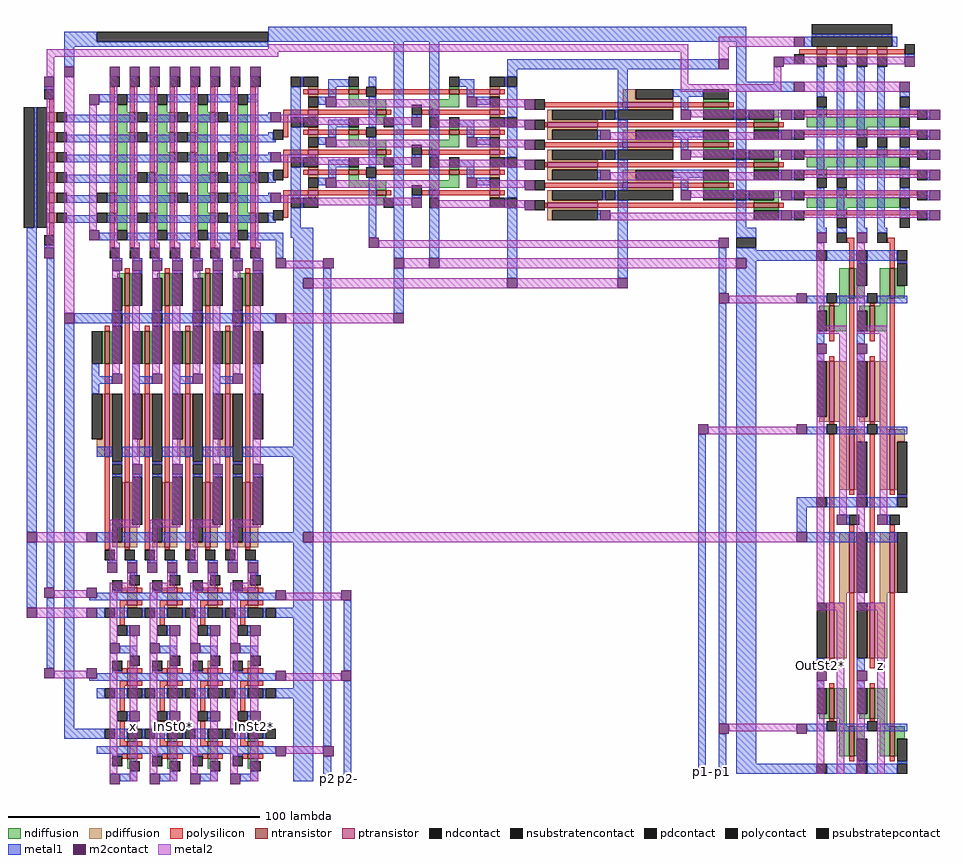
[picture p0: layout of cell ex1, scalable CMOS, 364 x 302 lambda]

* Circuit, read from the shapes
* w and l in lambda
.subckt ex1 GND! InSt0* InSt1* InSt2* OutSt0* OutSt1* OutSt2* Vdd! p1 p1- p2 p2- x z
M1 GND! n1 n2 GND! nfet w=13 l=2
M2 p2 n2 n3 GND! nfet w=4 l=2
M3 p2 n2 n4 GND! nfet w=4 l=2
M4 n1 n5 GND! GND! nfet w=13 l=2
M5 n6 p2 n5 GND! nfet w=4 l=2
M6 GND! x n6 GND! nfet w=4 l=2
M7 n7 n1 p2 GND! nfet w=4 l=2
M8 n8 n1 p2 GND! nfet w=4 l=2
M9 GND! n9 n10 GND! nfet w=13 l=2
M10 p2 n10 n3 GND! nfet w=4 l=2
M11 p2 n10 n11 GND! nfet w=4 l=2
M12 n9 n12 GND! GND! nfet w=13 l=2
M13 n13 p2 n12 GND! nfet w=4 l=2
M14 GND! InSt0* n13 GND! nfet w=4 l=2
M15 n4 n9 p2 GND! nfet w=4 l=2
M16 n14 n9 p2 GND! nfet w=4 l=2
M17 n7 n9 p2 GND! nfet w=4 l=2
M18 n8 n9 p2 GND! nfet w=4 l=2
M19 GND! n15 n16 GND! nfet w=13 l=2
M20 p2 n16 n14 GND! nfet w=4 l=2
M21 p2 n16 n7 GND! nfet w=4 l=2
M22 n15 n17 GND! GND! nfet w=13 l=2
M23 n18 p2 n17 GND! nfet w=4 l=2
M24 GND! InSt1* n18 GND! nfet w=4 l=2
M25 n3 n15 p2 GND! nfet w=4 l=2
M26 n4 n15 p2 GND! nfet w=4 l=2
M27 n11 n15 p2 GND! nfet w=4 l=2
M28 n8 n15 p2 GND! nfet w=4 l=2
M29 GND! n19 n20 GND! nfet w=13 l=2
M30 p2 n20 n4 GND! nfet w=4 l=2
M31 p2 n20 n14 GND! nfet w=4 l=2
M32 n19 n21 GND! GND! nfet w=13 l=2
M33 n22 p2 n21 GND! nfet w=4 l=2
M34 GND! InSt2* n22 GND! nfet w=4 l=2
M35 n3 n19 p2 GND! nfet w=4 l=2
M36 n11 n19 p2 GND! nfet w=4 l=2
M37 n23 p1 n24 GND! nfet w=4 l=2
M38 n25 p1 n26 GND! nfet w=4 l=2
M39 n27 p1 n28 GND! nfet w=4 l=2
M40 n24 n3 GND! GND! nfet w=4 l=2
M41 n26 n11 GND! GND! nfet w=4 l=2
M42 n28 n7 GND! GND! nfet w=4 l=2
M43 n29 n4 GND! GND! nfet w=4 l=2
M44 n30 n14 GND! GND! nfet w=4 l=2
M45 n31 n8 GND! GND! nfet w=4 l=2
M46 n32 p1 n29 GND! nfet w=4 l=2
M47 n33 p1 n30 GND! nfet w=4 l=2
M48 n34 p1 n31 GND! nfet w=4 l=2
M49 n35 n32 GND! GND! nfet w=10 l=2
M50 n36 n33 GND! GND! nfet w=10 l=2
M51 n37 n34 GND! GND! nfet w=10 l=2
M52 GND! n23 n38 GND! nfet w=10 l=2
M53 GND! n25 n39 GND! nfet w=10 l=2
M54 GND! n27 n40 GND! nfet w=10 l=2
M55 GND! n39 n41 GND! nfet w=4 l=2
M56 n41 n37 GND! GND! nfet w=4 l=2
M57 n42 p1 OutSt2* GND! nfet w=12 l=2
M58 n43 p1 OutSt1* GND! nfet w=10 l=2
M59 GND! n38 n44 GND! nfet w=4 l=2
M60 n44 n35 GND! GND! nfet w=4 l=2
M61 GND! n41 n42 GND! nfet w=12 l=2
M62 GND! n44 n43 GND! nfet w=12 l=2
M63 GND! n40 n45 GND! nfet w=4 l=2
M64 n46 p1 OutSt0* GND! nfet w=12 l=2
M65 n47 p1 z GND! nfet w=10 l=2
M66 n48 n36 GND! GND! nfet w=4 l=2
M67 GND! n45 n46 GND! nfet w=12 l=2
M68 GND! n48 n47 GND! nfet w=12 l=2
M69 n3 p2- Vdd! Vdd! pfet w=4 l=2
M70 n4 p2- Vdd! Vdd! pfet w=4 l=2
M71 n11 p2- Vdd! Vdd! pfet w=4 l=2
M72 n14 p2- Vdd! Vdd! pfet w=4 l=2
M73 n7 p2- Vdd! Vdd! pfet w=4 l=2
M74 n8 p2- Vdd! Vdd! pfet w=4 l=2
M75 Vdd! n1 n2 Vdd! pfet w=25 l=2
M76 n1 n5 Vdd! Vdd! pfet w=26 l=2
M77 n49 x Vdd! Vdd! pfet w=4 l=2
M78 n5 p2- n49 Vdd! pfet w=4 l=2
M79 n50 x Vdd! Vdd! pfet w=4 l=2
M80 n5 p2- n50 Vdd! pfet w=4 l=2
M81 Vdd! n9 n10 Vdd! pfet w=25 l=2
M82 n9 n12 Vdd! Vdd! pfet w=26 l=2
M83 n51 InSt0* Vdd! Vdd! pfet w=4 l=2
M84 n12 p2- n51 Vdd! pfet w=4 l=2
M85 n52 InSt0* Vdd! Vdd! pfet w=4 l=2
M86 n12 p2- n52 Vdd! pfet w=4 l=2
M87 Vdd! n15 n16 Vdd! pfet w=25 l=2
M88 n15 n17 Vdd! Vdd! pfet w=26 l=2
M89 n53 InSt1* Vdd! Vdd! pfet w=4 l=2
M90 n17 p2- n53 Vdd! pfet w=4 l=2
M91 n54 InSt1* Vdd! Vdd! pfet w=4 l=2
M92 n17 p2- n54 Vdd! pfet w=4 l=2
M93 Vdd! n19 n20 Vdd! pfet w=25 l=2
M94 n19 n21 Vdd! Vdd! pfet w=26 l=2
M95 n55 InSt2* Vdd! Vdd! pfet w=4 l=2
M96 n21 p2- n55 Vdd! pfet w=4 l=2
M97 n56 InSt2* Vdd! Vdd! pfet w=4 l=2
M98 n21 p2- n56 Vdd! pfet w=4 l=2
M99 n23 n3 Vdd! Vdd! pfet w=4 l=2
M100 Vdd! p1 n23 Vdd! pfet w=4 l=2
M101 n25 n11 Vdd! Vdd! pfet w=4 l=2
M102 Vdd! p1 n25 Vdd! pfet w=4 l=2
M103 n27 n7 Vdd! Vdd! pfet w=4 l=2
M104 Vdd! p1 n27 Vdd! pfet w=4 l=2
M105 n32 n4 Vdd! Vdd! pfet w=4 l=2
M106 Vdd! p1 n32 Vdd! pfet w=4 l=2
M107 n33 n14 Vdd! Vdd! pfet w=4 l=2
M108 Vdd! p1 n33 Vdd! pfet w=4 l=2
M109 n34 n8 Vdd! Vdd! pfet w=4 l=2
M110 Vdd! p1 n34 Vdd! pfet w=4 l=2
M111 Vdd! n23 n38 Vdd! pfet w=20 l=2
M112 Vdd! n25 n39 Vdd! pfet w=20 l=2
M113 Vdd! n27 n40 Vdd! pfet w=20 l=2
M114 n35 n32 Vdd! Vdd! pfet w=20 l=2
M115 n36 n33 Vdd! Vdd! pfet w=20 l=2
M116 n37 n34 Vdd! Vdd! pfet w=20 l=2
M117 Vdd! p2- n41 Vdd! pfet w=4 l=2
M118 n57 p1- OutSt2* Vdd! pfet w=22 l=2
M119 n58 p1- OutSt1* Vdd! pfet w=24 l=2
M120 Vdd! p2- n44 Vdd! pfet w=4 l=2
M121 Vdd! n41 n57 Vdd! pfet w=24 l=2
M122 Vdd! n44 n58 Vdd! pfet w=24 l=2
M123 Vdd! p2- n45 Vdd! pfet w=4 l=2
M124 n59 p1- OutSt0* Vdd! pfet w=22 l=2
M125 n60 p1- z Vdd! pfet w=24 l=2
M126 Vdd! p2- n48 Vdd! pfet w=4 l=2
M127 Vdd! n45 n59 Vdd! pfet w=24 l=2
M128 Vdd! n48 n60 Vdd! pfet w=24 l=2
.ends

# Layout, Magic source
magic
tech scmos
<< polysilicon >>
rect 308 21 315 23
rect 319 21 323 23
rect 327 21 331 23
rect 335 21 339 23
rect 343 21 350 23
rect 10 -2 12 3
rect 10 -10 12 -6
rect 10 -18 12 -14
rect 10 -26 12 -22
rect 10 -34 12 -30
rect 34 -34 36 8
rect 42 -2 44 8
rect 42 -10 44 -6
rect 10 -42 12 -38
rect 34 -42 36 -38
rect 10 -51 12 -46
rect 34 -56 36 -46
rect 42 -56 44 -14
rect 50 -26 52 8
rect 58 -2 60 8
rect 58 -10 60 -6
rect 66 -10 68 8
rect 74 -2 76 8
rect 58 -18 60 -14
rect 66 -18 68 -14
rect 50 -42 52 -30
rect 58 -34 60 -22
rect 50 -56 52 -46
rect 58 -56 60 -38
rect 66 -56 68 -22
rect 74 -26 76 -6
rect 82 -18 84 8
rect 74 -34 76 -30
rect 82 -34 84 -22
rect 90 -26 92 8
rect 111 5 113 7
rect 117 5 129 7
rect 133 5 136 7
rect 140 5 169 7
rect 173 5 185 7
rect 189 5 191 7
rect 103 -3 113 -1
rect 117 -3 140 -1
rect 144 -3 146 -1
rect 207 0 238 2
rect 258 0 270 2
rect 280 0 282 2
rect 158 -3 161 -1
rect 165 -3 185 -1
rect 189 -3 191 -1
rect 103 -12 105 -3
rect 111 -11 113 -9
rect 117 -11 129 -9
rect 133 -11 136 -9
rect 310 -3 315 -1
rect 319 -3 355 -1
rect 207 -8 208 -6
rect 228 -8 290 -6
rect 300 -8 302 -6
rect 140 -11 169 -9
rect 173 -11 185 -9
rect 189 -11 191 -9
rect 103 -19 113 -17
rect 117 -19 140 -17
rect 144 -19 146 -17
rect 310 -11 331 -9
rect 335 -11 355 -9
rect 207 -16 238 -14
rect 258 -16 270 -14
rect 280 -16 282 -14
rect 158 -19 161 -17
rect 165 -19 185 -17
rect 189 -19 191 -17
rect 103 -28 105 -19
rect 111 -27 113 -25
rect 117 -27 129 -25
rect 133 -27 136 -25
rect 74 -42 76 -38
rect 74 -56 76 -46
rect 82 -56 84 -38
rect 90 -42 92 -30
rect 310 -19 339 -17
rect 343 -19 355 -17
rect 207 -24 208 -22
rect 228 -24 290 -22
rect 300 -24 302 -22
rect 140 -27 169 -25
rect 173 -27 185 -25
rect 189 -27 191 -25
rect 103 -35 113 -33
rect 117 -35 140 -33
rect 144 -35 146 -33
rect 310 -27 315 -25
rect 319 -27 355 -25
rect 207 -32 238 -30
rect 258 -32 270 -30
rect 280 -32 282 -30
rect 158 -35 161 -33
rect 165 -35 185 -33
rect 189 -35 191 -33
rect 103 -44 105 -35
rect 310 -35 323 -33
rect 327 -35 355 -33
rect 207 -40 208 -38
rect 228 -40 290 -38
rect 300 -40 302 -38
rect 310 -43 323 -41
rect 327 -43 355 -41
rect 90 -56 92 -46
rect 327 -54 330 -52
rect 343 -54 346 -52
rect 328 -64 330 -54
rect 40 -66 42 -64
rect 56 -66 58 -64
rect 72 -66 74 -64
rect 88 -66 90 -64
rect 32 -89 34 -87
rect 32 -114 34 -102
rect 32 -176 34 -139
rect 40 -149 42 -79
rect 48 -89 50 -87
rect 48 -114 50 -102
rect 40 -176 42 -175
rect 48 -176 50 -139
rect 56 -149 58 -79
rect 64 -89 66 -87
rect 64 -114 66 -102
rect 56 -176 58 -175
rect 64 -176 66 -139
rect 72 -149 74 -79
rect 344 -64 346 -54
rect 320 -79 322 -78
rect 80 -89 82 -87
rect 80 -114 82 -102
rect 72 -176 74 -175
rect 80 -176 82 -139
rect 88 -149 90 -79
rect 320 -93 322 -89
rect 320 -101 322 -99
rect 320 -126 322 -125
rect 328 -128 330 -76
rect 336 -79 338 -78
rect 336 -93 338 -89
rect 336 -101 338 -99
rect 336 -126 338 -125
rect 88 -176 90 -175
rect 39 -192 41 -191
rect 36 -193 41 -192
rect 45 -193 47 -191
rect 55 -192 57 -191
rect 52 -193 57 -192
rect 61 -193 63 -191
rect 71 -192 73 -191
rect 68 -193 73 -192
rect 77 -193 79 -191
rect 87 -192 89 -191
rect 84 -193 89 -192
rect 93 -193 95 -191
rect 38 -198 41 -196
rect 45 -198 47 -196
rect 54 -198 57 -196
rect 61 -198 63 -196
rect 70 -198 73 -196
rect 77 -198 79 -196
rect 86 -198 89 -196
rect 93 -198 95 -196
rect 320 -197 322 -130
rect 344 -128 346 -76
rect 328 -154 330 -152
rect 328 -169 330 -166
rect 38 -206 40 -198
rect 54 -206 56 -198
rect 70 -206 72 -198
rect 86 -206 88 -198
rect 39 -224 41 -223
rect 36 -225 41 -224
rect 45 -225 47 -223
rect 55 -224 57 -223
rect 52 -225 57 -224
rect 61 -225 63 -223
rect 71 -224 73 -223
rect 68 -225 73 -224
rect 77 -225 79 -223
rect 320 -223 322 -219
rect 87 -224 89 -223
rect 84 -225 89 -224
rect 93 -225 95 -223
rect 38 -230 41 -228
rect 45 -230 47 -228
rect 54 -230 57 -228
rect 61 -230 63 -228
rect 70 -230 73 -228
rect 77 -230 79 -228
rect 86 -230 89 -228
rect 93 -230 95 -228
rect 38 -240 40 -230
rect 54 -240 56 -230
rect 70 -240 72 -230
rect 86 -240 88 -230
rect 320 -231 322 -229
rect 320 -244 322 -243
rect 38 -252 40 -244
rect 54 -252 56 -244
rect 70 -252 72 -244
rect 86 -252 88 -244
rect 328 -246 330 -193
rect 336 -197 338 -130
rect 344 -154 346 -152
rect 344 -169 346 -166
rect 336 -223 338 -219
rect 336 -231 338 -229
rect 336 -244 338 -243
rect 38 -254 41 -252
rect 45 -254 47 -252
rect 54 -254 57 -252
rect 61 -254 63 -252
rect 70 -254 73 -252
rect 77 -254 79 -252
rect 86 -254 89 -252
rect 93 -254 95 -252
rect 37 -258 41 -257
rect 39 -259 41 -258
rect 45 -259 47 -257
rect 53 -258 57 -257
rect 55 -259 57 -258
rect 61 -259 63 -257
rect 69 -258 73 -257
rect 71 -259 73 -258
rect 77 -259 79 -257
rect 85 -258 89 -257
rect 87 -259 89 -258
rect 93 -259 95 -257
rect 344 -246 346 -193
rect 328 -260 330 -258
rect 344 -260 346 -258
<< ndiffusion >>
rect 37 -2 41 1
rect 37 -6 42 -2
rect 44 -6 45 -2
rect 37 -10 41 -6
rect 37 -14 42 -10
rect 44 -14 45 -10
rect 37 -34 41 -14
rect 33 -38 34 -34
rect 36 -38 41 -34
rect 37 -42 41 -38
rect 33 -46 34 -42
rect 36 -46 41 -42
rect 37 -49 41 -46
rect 53 -2 57 1
rect 53 -6 58 -2
rect 60 -6 61 -2
rect 53 -10 57 -6
rect 69 -2 73 1
rect 69 -6 74 -2
rect 76 -6 77 -2
rect 69 -10 73 -6
rect 53 -14 58 -10
rect 60 -14 61 -10
rect 65 -14 66 -10
rect 68 -14 73 -10
rect 53 -18 57 -14
rect 69 -18 73 -14
rect 53 -22 58 -18
rect 60 -22 61 -18
rect 65 -22 66 -18
rect 68 -22 73 -18
rect 53 -26 57 -22
rect 49 -30 50 -26
rect 52 -30 57 -26
rect 53 -34 57 -30
rect 53 -38 58 -34
rect 60 -38 61 -34
rect 53 -42 57 -38
rect 49 -46 50 -42
rect 52 -46 57 -42
rect 53 -49 57 -46
rect 69 -26 73 -22
rect 85 -18 89 1
rect 81 -22 82 -18
rect 84 -22 89 -18
rect 69 -30 74 -26
rect 76 -30 77 -26
rect 69 -34 73 -30
rect 85 -26 89 -22
rect 129 7 133 8
rect 129 3 133 5
rect 169 7 173 8
rect 169 3 173 5
rect 129 0 144 3
rect 140 -1 144 0
rect 161 0 173 3
rect 161 -1 165 0
rect 270 2 280 3
rect 140 -4 144 -3
rect 161 -4 165 -3
rect 140 -7 143 -4
rect 129 -9 133 -8
rect 129 -13 133 -11
rect 169 -9 173 -8
rect 270 -1 280 0
rect 315 -1 319 0
rect 282 -5 283 -1
rect 287 -5 288 -1
rect 298 -5 300 -1
rect 315 -4 319 -3
rect 290 -6 300 -5
rect 311 -8 348 -4
rect 290 -9 300 -8
rect 331 -9 335 -8
rect 169 -13 173 -11
rect 129 -16 144 -13
rect 140 -17 144 -16
rect 161 -16 173 -13
rect 161 -17 165 -16
rect 331 -12 335 -11
rect 270 -14 280 -13
rect 85 -30 90 -26
rect 92 -30 93 -26
rect 140 -20 144 -19
rect 161 -20 165 -19
rect 140 -23 143 -20
rect 129 -25 133 -24
rect 85 -34 89 -30
rect 69 -38 74 -34
rect 76 -38 77 -34
rect 81 -38 82 -34
rect 84 -38 89 -34
rect 69 -42 73 -38
rect 69 -46 74 -42
rect 76 -46 77 -42
rect 69 -49 73 -46
rect 85 -42 89 -38
rect 129 -29 133 -27
rect 169 -25 173 -24
rect 270 -17 280 -16
rect 339 -17 343 -16
rect 282 -21 283 -17
rect 287 -21 288 -17
rect 298 -21 300 -17
rect 339 -20 343 -19
rect 290 -22 300 -21
rect 311 -24 348 -20
rect 290 -25 300 -24
rect 315 -25 319 -24
rect 169 -29 173 -27
rect 129 -32 144 -29
rect 140 -33 144 -32
rect 161 -32 173 -29
rect 161 -33 165 -32
rect 315 -28 319 -27
rect 270 -30 280 -29
rect 85 -46 90 -42
rect 92 -46 93 -42
rect 140 -36 144 -35
rect 161 -36 165 -35
rect 140 -39 143 -36
rect 270 -33 280 -32
rect 323 -33 327 -32
rect 282 -37 283 -33
rect 287 -37 288 -33
rect 298 -37 300 -33
rect 323 -36 327 -35
rect 290 -38 300 -37
rect 311 -40 348 -36
rect 290 -41 300 -40
rect 323 -41 327 -40
rect 323 -44 327 -43
rect 85 -49 89 -46
rect 331 -62 335 -61
rect 37 -68 40 -66
rect 39 -79 40 -68
rect 42 -79 43 -66
rect 53 -68 56 -66
rect 35 -82 39 -81
rect 35 -87 39 -86
rect 31 -102 32 -89
rect 34 -102 35 -89
rect 55 -79 56 -68
rect 58 -79 59 -66
rect 69 -68 72 -66
rect 51 -82 55 -81
rect 51 -87 55 -86
rect 47 -102 48 -89
rect 50 -102 51 -89
rect 71 -79 72 -68
rect 74 -79 75 -66
rect 85 -68 88 -66
rect 67 -82 71 -81
rect 67 -87 71 -86
rect 63 -102 64 -89
rect 66 -102 67 -89
rect 87 -79 88 -68
rect 90 -79 91 -66
rect 324 -76 328 -64
rect 330 -71 331 -64
rect 347 -62 351 -61
rect 330 -76 334 -71
rect 324 -79 327 -76
rect 83 -82 87 -81
rect 83 -87 87 -86
rect 79 -102 80 -89
rect 82 -102 83 -89
rect 316 -81 320 -79
rect 319 -89 320 -81
rect 322 -89 327 -79
rect 340 -76 344 -64
rect 346 -71 347 -64
rect 346 -76 350 -71
rect 340 -79 343 -76
rect 332 -81 336 -79
rect 335 -89 336 -81
rect 338 -89 343 -79
rect 319 -241 320 -231
rect 316 -243 320 -241
rect 322 -243 327 -231
rect 47 -251 48 -247
rect 41 -252 45 -251
rect 63 -251 64 -247
rect 57 -252 61 -251
rect 79 -251 80 -247
rect 73 -252 77 -251
rect 95 -251 96 -247
rect 324 -246 327 -243
rect 335 -241 336 -231
rect 332 -243 336 -241
rect 338 -243 343 -231
rect 89 -252 93 -251
rect 41 -257 45 -254
rect 57 -257 61 -254
rect 73 -257 77 -254
rect 89 -257 93 -254
rect 41 -260 45 -259
rect 41 -263 42 -260
rect 57 -260 61 -259
rect 57 -263 58 -260
rect 73 -260 77 -259
rect 73 -263 74 -260
rect 324 -258 328 -246
rect 330 -251 334 -246
rect 340 -246 343 -243
rect 330 -258 331 -251
rect 89 -260 93 -259
rect 340 -258 344 -246
rect 346 -251 350 -246
rect 346 -258 347 -251
rect 89 -263 90 -260
rect 331 -261 335 -260
rect 347 -261 351 -260
<< pdiffusion >>
rect 313 28 345 29
rect 315 23 319 24
rect 323 23 327 24
rect 331 23 335 24
rect 339 23 343 24
rect 315 20 319 21
rect 323 20 327 21
rect 331 20 335 21
rect 339 20 343 21
rect 110 8 111 12
rect 4 -48 5 0
rect 9 -6 10 -2
rect 12 -6 13 -2
rect 9 -14 10 -10
rect 12 -14 13 -10
rect 9 -22 10 -18
rect 12 -22 13 -18
rect 9 -30 10 -26
rect 12 -30 13 -26
rect 9 -38 10 -34
rect 12 -38 13 -34
rect 9 -46 10 -42
rect 12 -46 13 -42
rect 113 7 117 8
rect 113 4 117 5
rect 191 8 192 12
rect 185 7 189 8
rect 113 -1 117 0
rect 185 4 189 5
rect 238 3 243 7
rect 185 -1 189 0
rect 238 2 258 3
rect 238 -1 258 0
rect 113 -4 117 -3
rect 185 -4 189 -3
rect 110 -8 111 -4
rect 113 -9 117 -8
rect 113 -12 117 -11
rect 191 -8 192 -4
rect 208 -5 210 -1
rect 230 -5 231 -1
rect 235 -5 236 -1
rect 185 -9 189 -8
rect 208 -6 228 -5
rect 208 -9 228 -8
rect 113 -17 117 -16
rect 185 -12 189 -11
rect 208 -13 210 -9
rect 238 -13 243 -9
rect 185 -17 189 -16
rect 238 -14 258 -13
rect 238 -17 258 -16
rect 113 -20 117 -19
rect 185 -20 189 -19
rect 110 -24 111 -20
rect 113 -25 117 -24
rect 113 -28 117 -27
rect 191 -24 192 -20
rect 208 -21 210 -17
rect 230 -21 231 -17
rect 235 -21 236 -17
rect 185 -25 189 -24
rect 208 -22 228 -21
rect 208 -25 228 -24
rect 113 -33 117 -32
rect 185 -28 189 -27
rect 208 -29 210 -25
rect 238 -29 243 -25
rect 185 -33 189 -32
rect 238 -30 258 -29
rect 238 -33 258 -32
rect 113 -36 117 -35
rect 110 -40 111 -36
rect 185 -36 189 -35
rect 191 -40 192 -36
rect 208 -37 210 -33
rect 230 -37 231 -33
rect 235 -37 236 -33
rect 208 -38 228 -37
rect 208 -41 228 -40
rect 208 -45 210 -41
rect 31 -132 32 -114
rect 29 -139 32 -132
rect 34 -139 35 -114
rect 35 -142 39 -141
rect 35 -147 39 -146
rect 47 -132 48 -114
rect 45 -139 48 -132
rect 50 -139 51 -114
rect 39 -173 40 -149
rect 35 -175 40 -173
rect 42 -166 43 -149
rect 42 -175 45 -166
rect 51 -142 55 -141
rect 51 -147 55 -146
rect 63 -132 64 -114
rect 61 -139 64 -132
rect 66 -139 67 -114
rect 55 -173 56 -149
rect 51 -175 56 -173
rect 58 -166 59 -149
rect 58 -175 61 -166
rect 67 -142 71 -141
rect 67 -147 71 -146
rect 79 -132 80 -114
rect 77 -139 80 -132
rect 82 -139 83 -114
rect 71 -173 72 -149
rect 67 -175 72 -173
rect 74 -166 75 -149
rect 74 -175 77 -166
rect 83 -142 87 -141
rect 83 -147 87 -146
rect 319 -123 320 -101
rect 316 -125 320 -123
rect 322 -125 327 -101
rect 324 -128 327 -125
rect 335 -123 336 -101
rect 332 -125 336 -123
rect 338 -125 343 -101
rect 87 -173 88 -149
rect 83 -175 88 -173
rect 90 -166 91 -149
rect 90 -175 93 -166
rect 41 -190 42 -188
rect 41 -191 45 -190
rect 57 -190 58 -188
rect 57 -191 61 -190
rect 73 -190 74 -188
rect 73 -191 77 -190
rect 89 -190 90 -188
rect 89 -191 93 -190
rect 41 -196 45 -193
rect 57 -196 61 -193
rect 73 -196 77 -193
rect 89 -196 93 -193
rect 324 -152 328 -128
rect 330 -133 334 -128
rect 340 -128 343 -125
rect 330 -152 331 -133
rect 331 -155 335 -154
rect 324 -193 328 -169
rect 330 -193 331 -169
rect 324 -197 327 -193
rect 41 -199 45 -198
rect 47 -203 48 -199
rect 57 -199 61 -198
rect 63 -203 64 -199
rect 73 -199 77 -198
rect 79 -203 80 -199
rect 89 -199 93 -198
rect 95 -203 96 -199
rect 41 -222 42 -220
rect 41 -223 45 -222
rect 57 -222 58 -220
rect 57 -223 61 -222
rect 73 -222 74 -220
rect 73 -223 77 -222
rect 89 -222 90 -220
rect 319 -219 320 -197
rect 322 -219 327 -197
rect 89 -223 93 -222
rect 41 -228 45 -225
rect 57 -228 61 -225
rect 73 -228 77 -225
rect 89 -228 93 -225
rect 41 -231 45 -230
rect 47 -235 48 -231
rect 57 -231 61 -230
rect 63 -235 64 -231
rect 73 -231 77 -230
rect 79 -235 80 -231
rect 89 -231 93 -230
rect 95 -235 96 -231
rect 340 -152 344 -128
rect 346 -133 350 -128
rect 346 -152 347 -133
rect 347 -155 351 -154
rect 340 -193 344 -169
rect 346 -193 347 -169
rect 340 -197 343 -193
rect 335 -219 336 -197
rect 338 -219 343 -197
<< metal1 >>
rect 16 26 29 30
rect 97 26 287 32
rect 313 28 345 29
rect 16 24 97 26
rect 16 16 20 24
rect 110 8 111 12
rect 121 8 129 11
rect 137 8 140 12
rect 8 7 12 8
rect 30 2 37 5
rect 41 2 53 5
rect 57 2 69 5
rect 73 2 85 5
rect 89 2 93 5
rect 4 -48 5 0
rect 17 -6 45 -3
rect 49 -6 61 -3
rect 65 -6 77 -3
rect 97 -3 98 -2
rect 81 -6 98 -3
rect 106 -4 110 8
rect 121 4 124 8
rect 117 1 120 4
rect 110 -8 111 -4
rect 121 -8 129 -5
rect 137 -8 140 4
rect 17 -14 45 -11
rect 49 -14 61 -11
rect 97 -11 99 -10
rect 65 -13 99 -11
rect 65 -14 100 -13
rect 17 -22 61 -19
rect 65 -22 77 -19
rect 97 -19 98 -18
rect 81 -22 98 -19
rect 106 -20 110 -8
rect 121 -12 124 -8
rect 117 -15 120 -12
rect 110 -24 111 -20
rect 121 -24 129 -21
rect 137 -24 140 -12
rect 17 -30 45 -27
rect 49 -30 77 -27
rect 81 -30 93 -27
rect 97 -29 99 -26
rect 97 -30 100 -29
rect 17 -38 29 -35
rect 33 -38 61 -35
rect 65 -38 77 -35
rect 97 -35 98 -34
rect 81 -38 98 -35
rect 106 -36 110 -24
rect 121 -28 124 -24
rect 117 -31 120 -28
rect 110 -40 111 -36
rect 17 -46 29 -43
rect 33 -46 45 -43
rect 49 -46 77 -43
rect 81 -46 93 -43
rect 97 -45 99 -42
rect 97 -46 100 -45
rect 106 -48 110 -40
rect 1 -169 5 -48
rect 30 -53 37 -50
rect 41 -53 53 -50
rect 57 -53 69 -50
rect 73 -53 85 -50
rect 89 -53 103 -50
rect 106 -52 115 -48
rect 8 -56 12 -55
rect 100 -60 103 -53
rect 1 -199 5 -173
rect 9 -191 12 -60
rect 35 -61 39 -60
rect 43 -61 47 -60
rect 51 -61 55 -60
rect 59 -61 63 -60
rect 67 -61 71 -60
rect 75 -61 79 -60
rect 83 -61 87 -60
rect 91 -61 95 -60
rect 43 -66 47 -65
rect 59 -66 63 -65
rect 35 -82 39 -81
rect 75 -66 79 -65
rect 51 -82 55 -81
rect 91 -66 95 -65
rect 67 -82 71 -81
rect 107 -68 115 -52
rect 137 -52 140 -28
rect 147 -60 151 26
rect 154 -4 158 -3
rect 161 -4 165 26
rect 192 15 276 19
rect 192 12 196 15
rect 173 8 179 11
rect 191 8 192 12
rect 176 4 179 8
rect 180 1 185 4
rect 192 -4 196 8
rect 236 -1 240 15
rect 283 10 287 26
rect 310 24 313 28
rect 345 24 347 28
rect 302 17 306 20
rect 350 20 354 21
rect 258 4 270 7
rect 261 -1 264 4
rect 283 6 306 10
rect 283 -1 287 6
rect 315 4 318 16
rect 173 -8 179 -5
rect 191 -8 192 -4
rect 230 -5 231 -1
rect 235 -5 236 -1
rect 282 -5 283 -1
rect 287 -5 288 -1
rect 305 -5 306 -1
rect 154 -20 158 -19
rect 161 -20 165 -8
rect 176 -12 179 -8
rect 180 -15 185 -12
rect 192 -20 196 -8
rect 228 -13 229 -9
rect 236 -17 240 -5
rect 258 -12 270 -9
rect 261 -17 264 -12
rect 283 -17 287 -5
rect 300 -13 301 -9
rect 305 -13 306 -9
rect 173 -24 179 -21
rect 191 -24 192 -20
rect 230 -21 231 -17
rect 235 -21 236 -17
rect 282 -21 283 -17
rect 287 -21 288 -17
rect 305 -21 306 -17
rect 154 -36 158 -35
rect 161 -36 165 -24
rect 176 -28 179 -24
rect 180 -31 185 -28
rect 192 -36 196 -24
rect 228 -29 229 -25
rect 236 -33 240 -21
rect 258 -28 270 -25
rect 261 -33 264 -28
rect 283 -33 287 -21
rect 300 -29 301 -25
rect 305 -29 306 -25
rect 315 -28 318 0
rect 323 -28 326 16
rect 331 -12 334 16
rect 339 -12 342 16
rect 348 4 352 6
rect 348 -4 352 0
rect 359 -5 360 -1
rect 348 -12 352 -8
rect 359 -13 360 -9
rect 191 -40 192 -36
rect 230 -37 231 -33
rect 235 -37 236 -33
rect 282 -37 283 -33
rect 287 -37 288 -33
rect 305 -37 306 -33
rect 107 -72 111 -68
rect 83 -82 87 -81
rect 9 -223 12 -195
rect 20 -86 35 -82
rect 39 -86 51 -82
rect 55 -86 67 -82
rect 71 -86 83 -82
rect 87 -86 100 -82
rect 16 -247 20 -86
rect 35 -87 39 -86
rect 51 -87 55 -86
rect 67 -87 71 -86
rect 83 -87 87 -86
rect 27 -107 30 -102
rect 27 -110 35 -107
rect 43 -107 46 -102
rect 43 -110 51 -107
rect 59 -107 62 -102
rect 59 -110 67 -107
rect 75 -107 78 -102
rect 75 -110 83 -107
rect 27 -114 30 -110
rect 43 -114 46 -110
rect 59 -114 62 -110
rect 75 -114 78 -110
rect 91 -114 94 -102
rect 29 -139 35 -135
rect 39 -139 51 -135
rect 35 -142 39 -141
rect 55 -139 67 -135
rect 51 -142 55 -141
rect 71 -139 83 -135
rect 67 -142 71 -141
rect 107 -135 115 -72
rect 87 -139 115 -135
rect 83 -142 87 -141
rect 35 -147 39 -146
rect 29 -173 35 -169
rect 43 -147 47 -146
rect 51 -147 55 -146
rect 39 -173 51 -169
rect 59 -147 63 -146
rect 67 -147 71 -146
rect 55 -173 67 -169
rect 75 -147 79 -146
rect 83 -147 87 -146
rect 71 -173 83 -169
rect 91 -147 95 -146
rect 107 -169 115 -139
rect 87 -173 111 -169
rect 33 -181 37 -180
rect 41 -181 45 -180
rect 49 -181 53 -180
rect 57 -181 61 -180
rect 65 -181 69 -180
rect 73 -181 77 -180
rect 81 -181 85 -180
rect 89 -181 93 -180
rect 42 -186 45 -185
rect 58 -186 61 -185
rect 74 -186 77 -185
rect 90 -186 93 -185
rect 35 -193 39 -192
rect 51 -193 55 -192
rect 67 -193 71 -192
rect 83 -193 87 -192
rect 29 -195 100 -193
rect 26 -196 100 -195
rect 107 -199 115 -173
rect 29 -203 32 -199
rect 36 -203 41 -199
rect 47 -203 48 -199
rect 52 -203 57 -199
rect 63 -203 64 -199
rect 68 -203 73 -199
rect 79 -203 80 -199
rect 84 -203 89 -199
rect 95 -203 96 -199
rect 100 -203 115 -199
rect 41 -210 42 -206
rect 57 -210 58 -206
rect 73 -210 74 -206
rect 89 -210 90 -206
rect 38 -217 45 -214
rect 54 -217 61 -214
rect 70 -217 77 -214
rect 86 -217 93 -214
rect 42 -218 45 -217
rect 58 -218 61 -217
rect 74 -218 77 -217
rect 90 -218 93 -217
rect 35 -225 39 -224
rect 51 -225 55 -224
rect 67 -225 71 -224
rect 83 -225 87 -224
rect 29 -227 100 -225
rect 26 -228 100 -227
rect 107 -231 115 -203
rect 29 -235 32 -231
rect 36 -235 41 -231
rect 47 -235 48 -231
rect 52 -235 57 -231
rect 63 -235 64 -231
rect 68 -235 73 -231
rect 79 -235 80 -231
rect 84 -235 89 -231
rect 95 -235 96 -231
rect 100 -235 115 -231
rect 41 -244 42 -240
rect 57 -244 58 -240
rect 73 -244 74 -240
rect 89 -244 90 -240
rect 16 -251 32 -247
rect 36 -251 41 -247
rect 47 -251 48 -247
rect 52 -251 57 -247
rect 63 -251 64 -247
rect 68 -251 73 -247
rect 79 -251 80 -247
rect 84 -251 89 -247
rect 95 -251 96 -247
rect 29 -257 100 -254
rect 35 -258 39 -257
rect 51 -258 55 -257
rect 67 -258 71 -257
rect 83 -258 87 -257
rect 42 -265 45 -264
rect 58 -265 61 -264
rect 74 -265 77 -264
rect 90 -265 93 -264
rect 38 -268 45 -265
rect 54 -268 61 -265
rect 70 -268 77 -265
rect 86 -268 93 -265
rect 107 -268 115 -235
rect 161 -60 165 -40
rect 119 -254 122 -64
rect 147 -82 151 -64
rect 192 -68 196 -40
rect 228 -45 229 -41
rect 236 -68 240 -37
rect 283 -48 287 -37
rect 300 -45 301 -41
rect 305 -45 306 -41
rect 315 -48 318 -32
rect 323 -44 326 -32
rect 283 -52 291 -48
rect 315 -50 319 -48
rect 323 -50 327 -48
rect 331 -48 334 -16
rect 339 -48 342 -16
rect 348 -20 352 -16
rect 359 -21 360 -17
rect 348 -28 352 -24
rect 359 -29 360 -25
rect 348 -36 352 -32
rect 359 -37 360 -33
rect 348 -44 352 -40
rect 359 -45 360 -41
rect 331 -50 335 -48
rect 339 -50 343 -48
rect 276 -74 279 -56
rect 283 -57 291 -56
rect 283 -60 315 -57
rect 287 -61 315 -60
rect 319 -61 331 -57
rect 335 -61 347 -57
rect 287 -64 291 -61
rect 127 -224 130 -196
rect 119 -268 122 -258
rect 127 -268 130 -228
rect 268 -265 271 -130
rect 276 -245 279 -78
rect 276 -265 279 -249
rect 283 -261 291 -64
rect 331 -62 335 -61
rect 347 -62 351 -61
rect 311 -78 319 -75
rect 323 -78 335 -75
rect 339 -78 351 -75
rect 315 -94 318 -89
rect 331 -94 334 -89
rect 315 -101 318 -98
rect 331 -101 334 -98
rect 311 -130 319 -127
rect 323 -130 335 -127
rect 339 -130 351 -127
rect 331 -155 335 -154
rect 347 -155 351 -154
rect 307 -159 315 -155
rect 319 -159 331 -155
rect 335 -159 347 -155
rect 307 -169 311 -159
rect 327 -166 328 -162
rect 343 -166 344 -162
rect 311 -173 331 -169
rect 335 -173 347 -169
rect 315 -224 318 -219
rect 331 -224 334 -219
rect 315 -231 318 -228
rect 331 -231 334 -228
rect 311 -248 319 -245
rect 323 -248 335 -245
rect 339 -248 351 -245
rect 331 -261 335 -260
rect 347 -261 351 -260
rect 283 -265 315 -261
rect 319 -265 331 -261
rect 335 -265 347 -261
<< metal2 >>
rect 97 23 264 25
rect 9 22 264 23
rect 9 20 101 22
rect 9 12 12 20
rect 9 -56 12 8
rect 16 -82 20 12
rect 26 -49 29 1
rect 34 -54 37 12
rect 42 -54 45 12
rect 50 -54 53 12
rect 58 -54 61 12
rect 66 -54 69 12
rect 74 -54 77 12
rect 82 -54 85 12
rect 90 -54 93 12
rect 261 9 264 22
rect 276 24 306 28
rect 276 19 280 24
rect 302 17 350 20
rect 298 9 301 16
rect 261 6 301 9
rect 310 6 348 10
rect 124 0 165 3
rect 180 0 199 3
rect 102 -4 116 -3
rect 102 -6 154 -4
rect 113 -7 154 -6
rect 162 -5 165 0
rect 265 -4 301 -1
rect 305 -4 360 -1
rect 162 -8 199 -5
rect 124 -16 165 -13
rect 233 -13 301 -10
rect 305 -12 360 -9
rect 180 -16 199 -13
rect 102 -20 116 -19
rect 102 -22 154 -20
rect 113 -23 154 -22
rect 162 -21 165 -16
rect 265 -20 301 -17
rect 305 -20 360 -17
rect 162 -24 199 -21
rect 124 -32 165 -29
rect 233 -29 301 -26
rect 305 -28 360 -25
rect 180 -32 199 -29
rect 102 -36 116 -35
rect 102 -38 154 -36
rect 113 -39 154 -38
rect 162 -37 165 -32
rect 265 -36 301 -33
rect 305 -36 360 -33
rect 162 -40 199 -37
rect 233 -45 301 -42
rect 305 -44 360 -41
rect 34 -57 38 -54
rect 42 -57 46 -54
rect 50 -57 54 -54
rect 58 -57 62 -54
rect 66 -57 70 -54
rect 74 -57 78 -54
rect 82 -57 86 -54
rect 90 -57 94 -54
rect 141 -56 276 -53
rect 35 -61 38 -57
rect 43 -61 46 -57
rect 51 -61 54 -57
rect 59 -61 62 -57
rect 67 -61 70 -57
rect 75 -61 78 -57
rect 83 -61 86 -57
rect 91 -61 94 -57
rect 104 -64 119 -61
rect 151 -64 161 -60
rect 165 -64 283 -60
rect 35 -106 38 -65
rect 43 -142 46 -65
rect 51 -106 54 -65
rect 59 -142 62 -65
rect 67 -106 70 -65
rect 75 -142 78 -65
rect 83 -106 86 -65
rect 91 -142 94 -65
rect 115 -72 192 -68
rect 196 -72 236 -68
rect 280 -78 307 -75
rect 104 -86 147 -82
rect 315 -87 318 -54
rect 331 -87 334 -54
rect 315 -90 327 -87
rect 331 -90 343 -87
rect 272 -130 307 -127
rect 43 -164 46 -146
rect 59 -164 62 -146
rect 75 -164 78 -146
rect 91 -164 94 -146
rect 34 -167 46 -164
rect 50 -167 62 -164
rect 66 -167 78 -164
rect 82 -167 94 -164
rect 5 -173 25 -169
rect 34 -181 37 -167
rect 50 -181 53 -167
rect 66 -181 69 -167
rect 82 -181 85 -167
rect 115 -173 307 -169
rect 41 -189 44 -185
rect 57 -189 60 -185
rect 73 -189 76 -185
rect 89 -189 92 -185
rect 12 -195 25 -192
rect 34 -192 44 -189
rect 50 -192 60 -189
rect 66 -192 76 -189
rect 82 -192 92 -189
rect 5 -203 25 -199
rect 34 -213 37 -192
rect 12 -227 25 -224
rect 34 -265 37 -217
rect 42 -240 45 -210
rect 50 -213 53 -192
rect 42 -268 45 -244
rect 50 -265 53 -217
rect 58 -240 61 -210
rect 66 -213 69 -192
rect 58 -268 61 -244
rect 66 -265 69 -217
rect 74 -240 77 -210
rect 82 -213 85 -192
rect 104 -196 126 -193
rect 315 -197 318 -98
rect 324 -162 327 -90
rect 331 -197 334 -98
rect 340 -162 343 -90
rect 315 -200 326 -197
rect 331 -200 342 -197
rect 74 -268 77 -244
rect 82 -265 85 -217
rect 90 -240 93 -210
rect 104 -228 126 -225
rect 90 -268 93 -244
rect 280 -248 307 -245
rect 104 -257 119 -254
rect 315 -265 318 -228
rect 323 -265 326 -200
rect 331 -265 334 -228
rect 339 -265 342 -200
<< ntransistor >>
rect 42 -6 44 -2
rect 42 -14 44 -10
rect 34 -38 36 -34
rect 34 -46 36 -42
rect 58 -6 60 -2
rect 74 -6 76 -2
rect 58 -14 60 -10
rect 66 -14 68 -10
rect 58 -22 60 -18
rect 66 -22 68 -18
rect 50 -30 52 -26
rect 58 -38 60 -34
rect 50 -46 52 -42
rect 82 -22 84 -18
rect 74 -30 76 -26
rect 129 5 133 7
rect 169 5 173 7
rect 140 -3 144 -1
rect 270 0 280 2
rect 161 -3 165 -1
rect 129 -11 133 -9
rect 315 -3 319 -1
rect 290 -8 300 -6
rect 169 -11 173 -9
rect 140 -19 144 -17
rect 331 -11 335 -9
rect 270 -16 280 -14
rect 161 -19 165 -17
rect 90 -30 92 -26
rect 129 -27 133 -25
rect 74 -38 76 -34
rect 82 -38 84 -34
rect 74 -46 76 -42
rect 339 -19 343 -17
rect 290 -24 300 -22
rect 169 -27 173 -25
rect 140 -35 144 -33
rect 315 -27 319 -25
rect 270 -32 280 -30
rect 161 -35 165 -33
rect 90 -46 92 -42
rect 323 -35 327 -33
rect 290 -40 300 -38
rect 323 -43 327 -41
rect 40 -79 42 -66
rect 32 -102 34 -89
rect 56 -79 58 -66
rect 48 -102 50 -89
rect 72 -79 74 -66
rect 64 -102 66 -89
rect 88 -79 90 -66
rect 328 -76 330 -64
rect 80 -102 82 -89
rect 320 -89 322 -79
rect 344 -76 346 -64
rect 336 -89 338 -79
rect 320 -243 322 -231
rect 336 -243 338 -231
rect 41 -254 45 -252
rect 57 -254 61 -252
rect 73 -254 77 -252
rect 89 -254 93 -252
rect 41 -259 45 -257
rect 57 -259 61 -257
rect 73 -259 77 -257
rect 89 -259 93 -257
rect 328 -258 330 -246
rect 344 -258 346 -246
<< ptransistor >>
rect 315 21 319 23
rect 323 21 327 23
rect 331 21 335 23
rect 339 21 343 23
rect 10 -6 12 -2
rect 10 -14 12 -10
rect 10 -22 12 -18
rect 10 -30 12 -26
rect 10 -38 12 -34
rect 10 -46 12 -42
rect 113 5 117 7
rect 185 5 189 7
rect 113 -3 117 -1
rect 238 0 258 2
rect 185 -3 189 -1
rect 113 -11 117 -9
rect 208 -8 228 -6
rect 185 -11 189 -9
rect 113 -19 117 -17
rect 238 -16 258 -14
rect 185 -19 189 -17
rect 113 -27 117 -25
rect 208 -24 228 -22
rect 185 -27 189 -25
rect 113 -35 117 -33
rect 238 -32 258 -30
rect 185 -35 189 -33
rect 208 -40 228 -38
rect 32 -139 34 -114
rect 48 -139 50 -114
rect 40 -175 42 -149
rect 64 -139 66 -114
rect 56 -175 58 -149
rect 80 -139 82 -114
rect 72 -175 74 -149
rect 320 -125 322 -101
rect 336 -125 338 -101
rect 88 -175 90 -149
rect 41 -193 45 -191
rect 57 -193 61 -191
rect 73 -193 77 -191
rect 89 -193 93 -191
rect 41 -198 45 -196
rect 57 -198 61 -196
rect 73 -198 77 -196
rect 89 -198 93 -196
rect 328 -152 330 -128
rect 328 -193 330 -169
rect 41 -225 45 -223
rect 57 -225 61 -223
rect 73 -225 77 -223
rect 320 -219 322 -197
rect 89 -225 93 -223
rect 41 -230 45 -228
rect 57 -230 61 -228
rect 73 -230 77 -228
rect 89 -230 93 -228
rect 344 -152 346 -128
rect 344 -193 346 -169
rect 336 -219 338 -197
<< polycontact >>
rect 350 21 354 25
rect 306 17 310 21
rect 34 8 38 12
rect 42 8 46 12
rect 50 8 54 12
rect 58 8 62 12
rect 66 8 70 12
rect 74 8 78 12
rect 82 8 86 12
rect 90 8 94 12
rect 8 3 12 7
rect 8 -55 12 -51
rect 136 4 140 8
rect 154 -3 158 1
rect 203 -1 207 3
rect 99 -13 103 -9
rect 136 -12 140 -8
rect 306 -5 310 -1
rect 203 -9 207 -5
rect 355 -5 359 -1
rect 154 -19 158 -15
rect 203 -17 207 -13
rect 306 -13 310 -9
rect 355 -13 359 -9
rect 99 -29 103 -25
rect 136 -28 140 -24
rect 306 -21 310 -17
rect 203 -25 207 -21
rect 355 -21 359 -17
rect 154 -35 158 -31
rect 203 -33 207 -29
rect 306 -29 310 -25
rect 355 -29 359 -25
rect 99 -45 103 -41
rect 306 -37 310 -33
rect 203 -41 207 -37
rect 355 -37 359 -33
rect 306 -45 310 -41
rect 355 -45 359 -41
rect 323 -54 327 -50
rect 339 -54 343 -50
rect 34 -60 38 -56
rect 42 -60 46 -56
rect 50 -60 54 -56
rect 58 -60 62 -56
rect 66 -60 70 -56
rect 74 -60 78 -56
rect 82 -60 86 -56
rect 90 -60 94 -56
rect 319 -78 323 -74
rect 319 -130 323 -126
rect 335 -78 339 -74
rect 32 -180 36 -176
rect 40 -180 44 -176
rect 48 -180 52 -176
rect 56 -180 60 -176
rect 64 -180 68 -176
rect 72 -180 76 -176
rect 80 -180 84 -176
rect 88 -180 92 -176
rect 35 -192 39 -188
rect 51 -192 55 -188
rect 67 -192 71 -188
rect 83 -192 87 -188
rect 335 -130 339 -126
rect 328 -166 332 -162
rect 37 -210 41 -206
rect 53 -210 57 -206
rect 69 -210 73 -206
rect 85 -210 89 -206
rect 35 -224 39 -220
rect 51 -224 55 -220
rect 67 -224 71 -220
rect 83 -224 87 -220
rect 37 -244 41 -240
rect 53 -244 57 -240
rect 69 -244 73 -240
rect 85 -244 89 -240
rect 319 -248 323 -244
rect 344 -166 348 -162
rect 35 -262 39 -258
rect 51 -262 55 -258
rect 67 -262 71 -258
rect 83 -262 87 -258
rect 335 -248 339 -244
<< ndcontact >>
rect 37 1 41 5
rect 45 -6 49 -2
rect 45 -14 49 -10
rect 29 -38 33 -34
rect 29 -46 33 -42
rect 37 -53 41 -49
rect 53 1 57 5
rect 61 -6 65 -2
rect 69 1 73 5
rect 77 -6 81 -2
rect 61 -14 65 -10
rect 61 -22 65 -18
rect 45 -30 49 -26
rect 61 -38 65 -34
rect 45 -46 49 -42
rect 53 -53 57 -49
rect 85 1 89 5
rect 77 -22 81 -18
rect 77 -30 81 -26
rect 129 8 133 12
rect 169 8 173 12
rect 270 3 280 7
rect 315 0 319 4
rect 129 -8 133 -4
rect 143 -8 147 -4
rect 161 -8 165 -4
rect 169 -8 173 -4
rect 270 -5 282 -1
rect 288 -5 298 -1
rect 348 -8 352 -4
rect 270 -13 280 -9
rect 290 -13 300 -9
rect 331 -16 335 -12
rect 339 -16 343 -12
rect 93 -30 97 -26
rect 129 -24 133 -20
rect 143 -24 147 -20
rect 161 -24 165 -20
rect 169 -24 173 -20
rect 77 -38 81 -34
rect 77 -46 81 -42
rect 69 -53 73 -49
rect 270 -21 282 -17
rect 288 -21 298 -17
rect 348 -24 352 -20
rect 270 -29 280 -25
rect 290 -29 300 -25
rect 315 -32 319 -28
rect 323 -32 327 -28
rect 93 -46 97 -42
rect 143 -40 147 -36
rect 161 -40 165 -36
rect 270 -37 282 -33
rect 288 -37 298 -33
rect 348 -40 352 -36
rect 290 -45 300 -41
rect 85 -53 89 -49
rect 323 -48 327 -44
rect 35 -81 39 -68
rect 43 -79 47 -66
rect 27 -102 31 -89
rect 35 -102 39 -87
rect 51 -81 55 -68
rect 59 -79 63 -66
rect 43 -102 47 -89
rect 51 -102 55 -87
rect 67 -81 71 -68
rect 75 -79 79 -66
rect 59 -102 63 -89
rect 67 -102 71 -87
rect 83 -81 87 -68
rect 91 -79 95 -66
rect 331 -71 335 -62
rect 75 -102 79 -89
rect 83 -102 87 -87
rect 315 -89 319 -81
rect 91 -102 95 -89
rect 347 -71 351 -62
rect 331 -89 335 -81
rect 315 -241 319 -231
rect 41 -251 47 -247
rect 57 -251 63 -247
rect 73 -251 79 -247
rect 89 -251 95 -247
rect 331 -241 335 -231
rect 42 -264 46 -260
rect 58 -264 62 -260
rect 74 -264 78 -260
rect 331 -260 335 -251
rect 347 -260 351 -251
rect 90 -264 94 -260
<< pdcontact >>
rect 313 24 345 28
rect 315 16 319 20
rect 323 16 327 20
rect 331 16 335 20
rect 339 16 343 20
rect 111 8 117 12
rect 5 -48 9 0
rect 13 -6 17 -2
rect 13 -14 17 -10
rect 13 -22 17 -18
rect 13 -30 17 -26
rect 13 -38 17 -34
rect 13 -46 17 -42
rect 113 0 117 4
rect 185 8 191 12
rect 185 0 189 4
rect 243 3 258 7
rect 111 -8 117 -4
rect 113 -16 117 -12
rect 185 -8 191 -4
rect 210 -5 230 -1
rect 236 -5 258 -1
rect 185 -16 189 -12
rect 210 -13 228 -9
rect 243 -13 258 -9
rect 111 -24 117 -20
rect 113 -32 117 -28
rect 185 -24 191 -20
rect 210 -21 230 -17
rect 236 -21 258 -17
rect 185 -32 189 -28
rect 210 -29 228 -25
rect 243 -29 258 -25
rect 111 -40 117 -36
rect 185 -40 191 -36
rect 210 -37 230 -33
rect 236 -37 258 -33
rect 210 -45 228 -41
rect 27 -132 31 -114
rect 35 -141 39 -114
rect 35 -173 39 -147
rect 43 -132 47 -114
rect 43 -166 47 -147
rect 51 -141 55 -114
rect 51 -173 55 -147
rect 59 -132 63 -114
rect 59 -166 63 -147
rect 67 -141 71 -114
rect 67 -173 71 -147
rect 75 -132 79 -114
rect 75 -166 79 -147
rect 83 -141 87 -114
rect 83 -173 87 -147
rect 91 -132 95 -114
rect 315 -123 319 -101
rect 331 -123 335 -101
rect 91 -166 95 -147
rect 42 -190 46 -186
rect 58 -190 62 -186
rect 74 -190 78 -186
rect 90 -190 94 -186
rect 331 -154 335 -133
rect 331 -193 335 -169
rect 41 -203 47 -199
rect 57 -203 63 -199
rect 73 -203 79 -199
rect 89 -203 95 -199
rect 42 -222 46 -218
rect 58 -222 62 -218
rect 74 -222 78 -218
rect 90 -222 94 -218
rect 315 -219 319 -197
rect 41 -235 47 -231
rect 57 -235 63 -231
rect 73 -235 79 -231
rect 89 -235 95 -231
rect 347 -154 351 -133
rect 347 -193 351 -169
rect 331 -219 335 -197
<< m2contact >>
rect 16 12 20 16
rect 34 12 38 16
rect 8 8 12 12
rect 42 12 46 16
rect 50 12 54 16
rect 58 12 62 16
rect 66 12 70 16
rect 74 12 78 16
rect 82 12 86 16
rect 90 12 94 16
rect 26 1 30 5
rect 98 -6 102 -2
rect 120 0 124 4
rect 98 -22 102 -18
rect 120 -16 124 -12
rect 98 -38 102 -34
rect 120 -32 124 -28
rect 26 -53 30 -49
rect 8 -60 12 -56
rect 1 -173 5 -169
rect 35 -65 39 -61
rect 43 -65 47 -61
rect 51 -65 55 -61
rect 59 -65 63 -61
rect 67 -65 71 -61
rect 75 -65 79 -61
rect 83 -65 87 -61
rect 91 -65 95 -61
rect 100 -64 104 -60
rect 137 -56 141 -52
rect 154 -8 158 -4
rect 276 15 280 19
rect 176 0 180 4
rect 199 -1 203 3
rect 306 24 310 28
rect 298 16 302 20
rect 350 16 354 20
rect 306 6 310 10
rect 261 -5 265 -1
rect 301 -5 305 -1
rect 154 -24 158 -20
rect 176 -16 180 -12
rect 199 -9 203 -5
rect 229 -13 233 -9
rect 199 -17 203 -13
rect 301 -13 305 -9
rect 261 -21 265 -17
rect 301 -21 305 -17
rect 154 -40 158 -36
rect 176 -32 180 -28
rect 199 -25 203 -21
rect 229 -29 233 -25
rect 199 -33 203 -29
rect 301 -29 305 -25
rect 348 6 352 10
rect 360 -5 364 -1
rect 360 -13 364 -9
rect 261 -37 265 -33
rect 301 -37 305 -33
rect 111 -72 115 -68
rect 8 -195 12 -191
rect 1 -203 5 -199
rect 8 -227 12 -223
rect 16 -86 20 -82
rect 100 -86 104 -82
rect 35 -110 39 -106
rect 51 -110 55 -106
rect 67 -110 71 -106
rect 83 -110 87 -106
rect 25 -173 29 -169
rect 43 -146 47 -142
rect 59 -146 63 -142
rect 75 -146 79 -142
rect 91 -146 95 -142
rect 111 -173 115 -169
rect 33 -185 37 -181
rect 41 -185 45 -181
rect 49 -185 53 -181
rect 57 -185 61 -181
rect 65 -185 69 -181
rect 73 -185 77 -181
rect 81 -185 85 -181
rect 89 -185 93 -181
rect 25 -195 29 -191
rect 100 -196 104 -192
rect 25 -203 29 -199
rect 42 -210 46 -206
rect 58 -210 62 -206
rect 74 -210 78 -206
rect 90 -210 94 -206
rect 34 -217 38 -213
rect 50 -217 54 -213
rect 66 -217 70 -213
rect 82 -217 86 -213
rect 25 -227 29 -223
rect 100 -228 104 -224
rect 42 -244 46 -240
rect 58 -244 62 -240
rect 74 -244 78 -240
rect 90 -244 94 -240
rect 100 -258 104 -254
rect 34 -269 38 -265
rect 50 -269 54 -265
rect 66 -269 70 -265
rect 82 -269 86 -265
rect 119 -64 123 -60
rect 147 -64 151 -60
rect 161 -64 165 -60
rect 199 -41 203 -37
rect 229 -45 233 -41
rect 192 -72 196 -68
rect 301 -45 305 -41
rect 236 -72 240 -68
rect 276 -56 280 -52
rect 315 -54 319 -50
rect 360 -21 364 -17
rect 360 -29 364 -25
rect 360 -37 364 -33
rect 360 -45 364 -41
rect 331 -54 335 -50
rect 147 -86 151 -82
rect 283 -64 287 -60
rect 276 -78 280 -74
rect 268 -130 272 -126
rect 126 -196 130 -192
rect 126 -228 130 -224
rect 119 -258 123 -254
rect 276 -249 280 -245
rect 307 -78 311 -74
rect 315 -98 319 -94
rect 331 -98 335 -94
rect 307 -130 311 -126
rect 323 -166 327 -162
rect 339 -166 343 -162
rect 307 -173 311 -169
rect 315 -228 319 -224
rect 331 -228 335 -224
rect 307 -249 311 -245
<< psubstratepcontact >>
rect 29 26 97 30
rect 348 0 352 4
rect 283 -5 287 -1
rect 348 -16 352 -12
rect 283 -21 287 -17
rect 348 -32 352 -28
rect 283 -37 287 -33
rect 348 -48 352 -44
rect 283 -56 291 -52
rect 315 -61 319 -57
rect 331 -61 335 -57
rect 35 -86 39 -82
rect 51 -86 55 -82
rect 67 -86 71 -82
rect 347 -61 351 -57
rect 83 -86 87 -82
rect 32 -251 36 -247
rect 48 -251 52 -247
rect 64 -251 68 -247
rect 80 -251 84 -247
rect 96 -251 100 -247
rect 315 -265 319 -261
rect 331 -265 335 -261
rect 347 -265 351 -261
<< nsubstratencontact >>
rect 313 29 345 33
rect 106 8 110 12
rect 0 -48 4 0
rect 192 8 196 12
rect 106 -8 110 -4
rect 192 -8 196 -4
rect 231 -5 235 -1
rect 106 -24 110 -20
rect 192 -24 196 -20
rect 231 -21 235 -17
rect 106 -40 110 -36
rect 192 -40 196 -36
rect 231 -37 235 -33
rect 35 -146 39 -142
rect 51 -146 55 -142
rect 67 -146 71 -142
rect 83 -146 87 -142
rect 315 -159 319 -155
rect 331 -159 335 -155
rect 32 -203 36 -199
rect 48 -203 52 -199
rect 64 -203 68 -199
rect 80 -203 84 -199
rect 96 -203 100 -199
rect 32 -235 36 -231
rect 48 -235 52 -231
rect 64 -235 68 -231
rect 80 -235 84 -231
rect 96 -235 100 -231
rect 347 -159 351 -155
<< labels >>
rlabel metal2 42 -246 45 -246 1 x
rlabel metal2 58 -246 61 -246 1 InSt0*
rlabel metal2 74 -246 77 -246 1 InSt1*
rlabel metal2 90 -246 93 -246 1 InSt2*
rlabel metal1 268 -264 271 -264 1 p1-
rlabel metal1 276 -264 279 -264 1 p1
rlabel metal1 127 -267 130 -267 1 p2-
rlabel metal1 119 -267 122 -267 1 p2
rlabel metal1 107 -267 115 -267 1 Vdd!
rlabel metal1 283 -264 291 -264 1 GND!
rlabel metal1 315 -222 318 -222 1 OutSt2*
rlabel metal2 323 -222 326 -222 1 OutSt1*
rlabel metal1 331 -222 334 -222 1 OutSt0*
rlabel metal2 339 -222 342 -222 1 z
<< end >>
